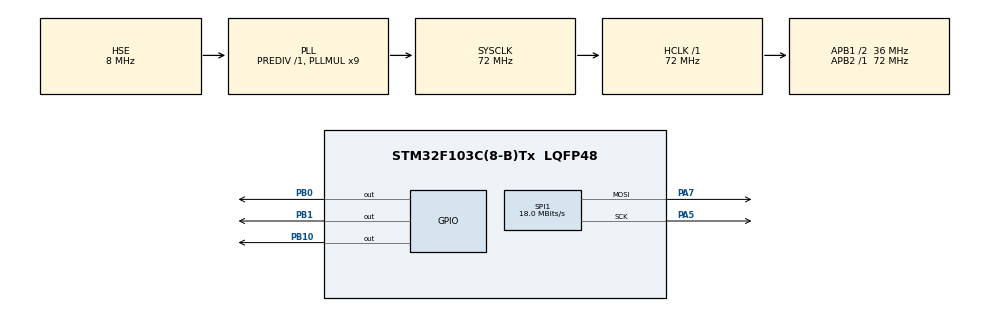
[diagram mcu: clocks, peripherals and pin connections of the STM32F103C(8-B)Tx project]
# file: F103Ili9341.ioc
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Dma.Request0=SPI1_TX
Dma.SPI1_TX.0.Direction=DMA_MEMORY_TO_PERIPH
Dma.SPI1_TX.0.Instance=DMA1_Channel3
Dma.SPI1_TX.0.MemDataAlignment=DMA_MDATAALIGN_BYTE
Dma.SPI1_TX.0.MemInc=DMA_MINC_ENABLE
Dma.SPI1_TX.0.Mode=DMA_NORMAL
Dma.SPI1_TX.0.PeriphDataAlignment=DMA_PDATAALIGN_BYTE
Dma.SPI1_TX.0.PeriphInc=DMA_PINC_DISABLE
Dma.SPI1_TX.0.Priority=DMA_PRIORITY_LOW
Mcu.Family=STM32F1
Mcu.Name=STM32F103C(8-B)Tx
Mcu.Package=LQFP48
NVIC.DMA1_Channel3_IRQn=true\:0\:0\:false\:false\:true\:false\:true\:true
NVIC.PriorityGroup=NVIC_PRIORITYGROUP_4
PA13.Mode=Serial_Wire
PA13.Signal=SYS_JTMS-SWDIO
PA14.Mode=Serial_Wire
PA14.Signal=SYS_JTCK-SWCLK
PA5.Mode=TX_Only_Simplex_Unidirect_Master
PA5.Signal=SPI1_SCK
PA7.Mode=TX_Only_Simplex_Unidirect_Master
PA7.Signal=SPI1_MOSI
PB0.Signal=GPIO_Output
PB1.Signal=GPIO_Output
PB10.Signal=GPIO_Output
PD0-OSC_IN.Mode=HSE-External-Oscillator
PD0-OSC_IN.Signal=RCC_OSC_IN
PD1-OSC_OUT.Mode=HSE-External-Oscillator
PD1-OSC_OUT.Signal=RCC_OSC_OUT
ProjectManager.HeapSize=0x200
ProjectManager.StackSize=0x400
ProjectManager.TargetToolchain=STM32CubeIDE
RCC.AHBFreq_Value=72000000
RCC.APB1CLKDivider=RCC_HCLK_DIV2
RCC.APB1Freq_Value=36000000
RCC.APB1TimFreq_Value=72000000
RCC.APB2Freq_Value=72000000
RCC.APB2TimFreq_Value=72000000
RCC.HCLKFreq_Value=72000000
RCC.PLLMUL=RCC_PLL_MUL9
RCC.PLLSourceVirtual=RCC_PLLSOURCE_HSE
RCC.SYSCLKFreq_VALUE=72000000
RCC.SYSCLKSource=RCC_SYSCLKSOURCE_PLLCLK
RCC.USBFreq_Value=72000000
SPI1.BaudRatePrescaler=SPI_BAUDRATEPRESCALER_4
SPI1.CalculateBaudRate=18.0 MBits/s
SPI1.Direction=SPI_DIRECTION_2LINES
SPI1.Mode=SPI_MODE_MASTER
SPI1.VirtualType=VM_MASTER
board=custom

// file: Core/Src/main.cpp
/* USER CODE BEGIN Header */
/**
  ******************************************************************************
  * @file           : main.c
  * @brief          : Main program body
  ******************************************************************************
  * @attention
  *
  * Copyright (c) 2023 STMicroelectronics.
  * All rights reserved.
  *
  * This software is licensed under terms that can be found in the LICENSE file
  * in the root directory of this software component.
  * If no LICENSE file comes with this software, it is provided AS-IS.
  *
  ******************************************************************************
  */
/* USER CODE END Header */
#include "main.h"

/* USER CODE BEGIN Includes */
#include "ILI9341_GFX.h"
#include "fonts.h"
#include <stdio.h>
/* USER CODE END Includes */

SPI_HandleTypeDef hspi1;
DMA_HandleTypeDef hdma_spi1_tx;

void SystemClock_Config(void);
static void MX_GPIO_Init(void);
static void MX_DMA_Init(void);
static void MX_SPI1_Init(void);

int main(void)
{

  /* MCU Configuration--------------------------------------------------------*/

  /* Reset of all peripherals, Initializes the Flash interface and the Systick. */
  HAL_Init();

  /* Configure the system clock */
  SystemClock_Config();

  /* Initialize all configured peripherals */
  MX_GPIO_Init();
  MX_DMA_Init();
  MX_SPI1_Init();
  /* USER CODE BEGIN 2 */
  Ili9341TftDisplay display(hspi1);
  display.FillScreen(RED);
  	display.SetRotation(SCREEN_HORIZONTAL_2);
  	display.DrawText("HELLO WORLD", FONT4, 90, 110, BLACK, WHITE);
  	HAL_Delay(1000);

  	//Writing numbers
  	display.FillScreen(WHITE);
  	static char BufferText[30];
  	for(uint8_t i = 0; i <= 15; i++)
  	{
  		sprintf(BufferText, "COUNT : %d", i);
  		display.DrawText(BufferText, FONT4, 10, 10, BLACK, WHITE);
  		display.DrawText(BufferText, FONT3, 10, 30, BLUE, WHITE);
  		display.DrawText(BufferText, FONT3, 10, 50, RED, WHITE);
  		display.DrawText(BufferText, FONT3, 10, 70, GREEN, WHITE);
  		display.DrawText(BufferText, FONT3, 10, 90, YELLOW, WHITE);
  		display.DrawText(BufferText, FONT3, 10, 110, PURPLE, WHITE);
  		display.DrawText(BufferText, FONT3, 10, 130, ORANGE, WHITE);
  		display.DrawText(BufferText, FONT3, 10, 150, MAROON, WHITE);
  		display.DrawText(BufferText, FONT3, 10, 170, WHITE, BLACK);
  		display.DrawText(BufferText, FONT3, 10, 190, BLUE, BLACK);
  	}

  /* USER CODE END 2 */

  /* Infinite loop */
  while (1)
  {

  }
}

void SystemClock_Config(void)
{
  RCC_OscInitTypeDef RCC_OscInitStruct = {0};
  RCC_ClkInitTypeDef RCC_ClkInitStruct = {0};

  /** Initializes the RCC Oscillators according to the specified parameters
  * in the RCC_OscInitTypeDef structure.
  */
  RCC_OscInitStruct.OscillatorType = RCC_OSCILLATORTYPE_HSE;
  RCC_OscInitStruct.HSEState = RCC_HSE_ON;
  RCC_OscInitStruct.HSEPredivValue = RCC_HSE_PREDIV_DIV1;
  RCC_OscInitStruct.HSIState = RCC_HSI_ON;
  RCC_OscInitStruct.PLL.PLLState = RCC_PLL_ON;
  RCC_OscInitStruct.PLL.PLLSource = RCC_PLLSOURCE_HSE;
  RCC_OscInitStruct.PLL.PLLMUL = RCC_PLL_MUL9;
  if (HAL_RCC_OscConfig(&RCC_OscInitStruct) != HAL_OK)
  {
    Error_Handler();
  }

  /** Initializes the CPU, AHB and APB buses clocks
  */
  RCC_ClkInitStruct.ClockType = RCC_CLOCKTYPE_HCLK|RCC_CLOCKTYPE_SYSCLK
                              |RCC_CLOCKTYPE_PCLK1|RCC_CLOCKTYPE_PCLK2;
  RCC_ClkInitStruct.SYSCLKSource = RCC_SYSCLKSOURCE_PLLCLK;
  RCC_ClkInitStruct.AHBCLKDivider = RCC_SYSCLK_DIV1;
  RCC_ClkInitStruct.APB1CLKDivider = RCC_HCLK_DIV2;
  RCC_ClkInitStruct.APB2CLKDivider = RCC_HCLK_DIV1;

  if (HAL_RCC_ClockConfig(&RCC_ClkInitStruct, FLASH_LATENCY_2) != HAL_OK)
  {
    Error_Handler();
  }
}

static void MX_SPI1_Init(void)
{

  /* SPI1 parameter configuration*/
  hspi1.Instance = SPI1;
  hspi1.Init.Mode = SPI_MODE_MASTER;
  hspi1.Init.Direction = SPI_DIRECTION_2LINES;
  hspi1.Init.DataSize = SPI_DATASIZE_8BIT;
  hspi1.Init.CLKPolarity = SPI_POLARITY_LOW;
  hspi1.Init.CLKPhase = SPI_PHASE_1EDGE;
  hspi1.Init.NSS = SPI_NSS_SOFT;
  hspi1.Init.BaudRatePrescaler = SPI_BAUDRATEPRESCALER_4;
  hspi1.Init.FirstBit = SPI_FIRSTBIT_MSB;
  hspi1.Init.TIMode = SPI_TIMODE_DISABLE;
  hspi1.Init.CRCCalculation = SPI_CRCCALCULATION_DISABLE;
  hspi1.Init.CRCPolynomial = 10;
  if (HAL_SPI_Init(&hspi1) != HAL_OK)
  {
    Error_Handler();
  }

}

static void MX_DMA_Init(void)
{

  /* DMA controller clock enable */
  __HAL_RCC_DMA1_CLK_ENABLE();

  /* DMA interrupt init */
  /* DMA1_Channel3_IRQn interrupt configuration */
  HAL_NVIC_SetPriority(DMA1_Channel3_IRQn, 0, 0);
  HAL_NVIC_EnableIRQ(DMA1_Channel3_IRQn);

}

static void MX_GPIO_Init(void)
{
  GPIO_InitTypeDef GPIO_InitStruct = {0};

  /* GPIO Ports Clock Enable */
  __HAL_RCC_GPIOD_CLK_ENABLE();
  __HAL_RCC_GPIOA_CLK_ENABLE();
  __HAL_RCC_GPIOB_CLK_ENABLE();

  /*Configure GPIO pin Output Level */
  HAL_GPIO_WritePin(GPIOB, GPIO_PIN_0|GPIO_PIN_1|GPIO_PIN_10, GPIO_PIN_RESET);

  /*Configure GPIO pins : PB0 PB1 PB10 */
  GPIO_InitStruct.Pin = GPIO_PIN_0|GPIO_PIN_1|GPIO_PIN_10;
  GPIO_InitStruct.Mode = GPIO_MODE_OUTPUT_PP;
  GPIO_InitStruct.Pull = GPIO_NOPULL;
  GPIO_InitStruct.Speed = GPIO_SPEED_FREQ_LOW;
  HAL_GPIO_Init(GPIOB, &GPIO_InitStruct);

}

void Error_Handler(void)
{
  __disable_irq();
  while (1)
  {
  }
}
